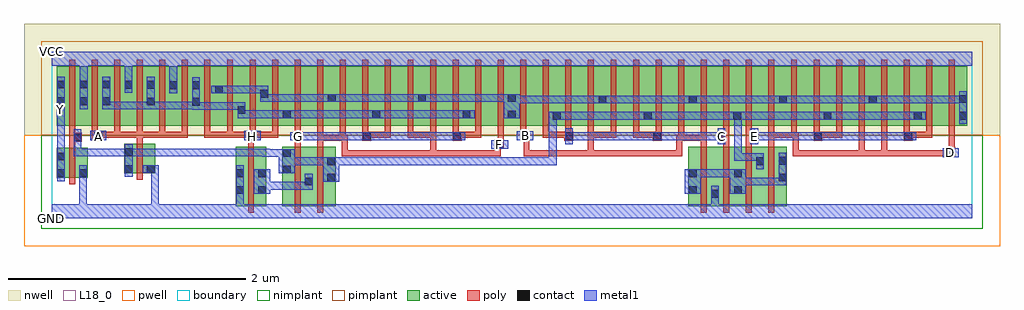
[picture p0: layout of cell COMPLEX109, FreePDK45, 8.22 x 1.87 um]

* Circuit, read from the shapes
.subckt COMPLEX109 A B C D E F G GND H VCC Y
M1 GND n1 Y VSUBS nfet w=0.25u l=0.05u
M2 GND A n1 VSUBS nfet w=0.25u l=0.05u
M3 n2 H GND VSUBS nfet w=0.5u l=0.05u
M4 n2 G n1 VSUBS nfet w=0.5u l=0.05u
M5 n1 F n2 VSUBS nfet w=0.5u l=0.05u
M6 GND B n3 VSUBS nfet w=0.5u l=0.05u
M7 n3 C GND VSUBS nfet w=0.5u l=0.05u
M8 n1 E n3 VSUBS nfet w=0.5u l=0.05u
M9 n3 D n1 VSUBS nfet w=0.5u l=0.05u
M10 VCC n1 Y n4 pfet w=0.5u l=0.05u
M11 n5 A VCC n4 pfet w=0.5u l=0.05u m=5
M12 n6 H n5 n4 pfet w=0.5u l=0.05u m=4
M13 n7 G n5 n4 pfet w=0.5u l=0.05u
M14 n6 F n7 n4 pfet w=0.5u l=0.05u
M15 n8 F n6 n4 pfet w=0.5u l=0.05u
M16 n5 G n8 n4 pfet w=0.5u l=0.05u
M17 n9 G n5 n4 pfet w=0.5u l=0.05u
M18 n6 F n9 n4 pfet w=0.5u l=0.05u
M19 n10 F n6 n4 pfet w=0.5u l=0.05u
M20 n5 G n10 n4 pfet w=0.5u l=0.05u
M21 n11 G n5 n4 pfet w=0.5u l=0.05u
M22 n6 F n11 n4 pfet w=0.5u l=0.05u
M23 n12 B n6 n4 pfet w=0.5u l=0.05u
M24 n1 C n12 n4 pfet w=0.5u l=0.05u
M25 n13 C n1 n4 pfet w=0.5u l=0.05u
M26 n6 B n13 n4 pfet w=0.5u l=0.05u
M27 n14 B n6 n4 pfet w=0.5u l=0.05u
M28 n1 C n14 n4 pfet w=0.5u l=0.05u
M29 n15 C n1 n4 pfet w=0.5u l=0.05u
M30 n6 B n15 n4 pfet w=0.5u l=0.05u
M31 n16 B n6 n4 pfet w=0.5u l=0.05u
M32 n1 C n16 n4 pfet w=0.5u l=0.05u
M33 n17 E n1 n4 pfet w=0.5u l=0.05u
M34 n6 D n17 n4 pfet w=0.5u l=0.05u
M35 n18 D n6 n4 pfet w=0.5u l=0.05u
M36 n1 E n18 n4 pfet w=0.5u l=0.05u
M37 n19 E n1 n4 pfet w=0.5u l=0.05u
M38 n6 D n19 n4 pfet w=0.5u l=0.05u
M39 n20 D n6 n4 pfet w=0.5u l=0.05u
M40 n1 E n20 n4 pfet w=0.5u l=0.05u
M41 n21 E n1 n4 pfet w=0.5u l=0.05u
M42 n6 D n21 n4 pfet w=0.5u l=0.05u
.ends

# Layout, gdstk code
import gdstk
lib = gdstk.Library(unit=1e-6, precision=1e-09)
def R(c, l, rs):  # rectangles x0, y0, x1, y1
    for r in rs: c.add(gdstk.rectangle(r[:2], r[2:], *l))
def A(c, l, x, y, w, h, nx, ny, dx, dy):  # array of equal rectangles
    R(c, l, [(x+i*dx, y+j*dy, x+i*dx+w, y+j*dy+h) for i in range(nx) for j in range(ny)])
active = (1, 0)
pwell = (2, 0)
nwell = (3, 0)
nimplant = (4, 0)
pimplant = (5, 0)
poly = (9, 0)
contact = (10, 0)
metal1 = (11, 0)
L18_0 = (18, 0)
boundary = (235, 0)

complex109 = lib.new_cell('COMPLEX109')
A(complex109, active, 1.37, 0.777, 0.265, 0.5, 3, 1, 0.19, 0)
A(complex109, active, 3.305, 0.777, 0.225, 0.5, 3, 1, 0.38, 0)
A(complex109, active, 3.455, 0.777, 0.23, 0.5, 3, 1, 0.38, 0)
A(complex109, active, 4.445, 0.777, 0.23, 0.5, 3, 1, 0.38, 0)
A(complex109, active, 4.6, 0.777, 0.225, 0.5, 3, 1, 0.38, 0)
A(complex109, active, 6.345, 0.777, 0.225, 0.5, 4, 1, 0.38, 0)
A(complex109, active, 6.495, 0.777, 0.23, 0.5, 3, 1, 0.38, 0)
A(complex109, active, 2.695, 0.807, 0.075, 0.263, 3, 1, 0.76, 0)
A(complex109, active, 4.6, 0.807, 0.075, 0.393, 3, 1, 0.76, 0)
A(complex109, active, 5.735, 0.807, 0.075, 0.263, 3, 1, 0.76, 0)
R(complex109, active, [(1.547,0.102,1.807,0.602), (1.94,0.102,2.2,0.602), (2.125,0.102,2.39,0.602), (5.36,0.102,5.622,0.602), (5.547,0.102,5.815,0.602), (5.74,0.102,6,0.602), (5.925,0.102,6.19,0.602), (1.547,0.132,1.622,0.602), (1.732,0.145,1.807,0.602), (1.94,0.145,2.015,0.602), (2.125,0.145,2.2,0.592), (2.315,0.145,2.39,0.602), (5.36,0.145,5.435,0.602), (5.547,0.145,5.622,0.592), (5.74,0.145,5.815,0.592), (5.925,0.145,6,0.592), (6.115,0.145,6.19,0.602), (0.04,0.342,0.115,0.592), (0.04,0.342,0.3,0.592), (0.225,0.342,0.3,0.592), (0.61,0.377,0.685,0.627), (0.61,0.377,0.87,0.627), (0.795,0.377,0.87,0.627), (0.04,0.777,0.305,1.277), (0.04,0.777,0.115,1.2), (0.23,0.777,0.495,1.277), (0.42,0.777,0.682,1.277), (0.607,0.777,0.87,1.277), (0.795,0.777,1.06,1.277), (0.985,0.777,1.25,1.277), (1.175,0.777,1.445,1.277), (1.94,0.777,2.165,1.277), (2.165,0.777,2.395,1.277), (2.32,0.777,2.545,1.277), (2.545,0.777,2.77,1.277), (2.695,0.777,2.925,1.277), (2.925,0.777,3.155,1.277), (3.08,0.777,3.305,1.277), (5.585,0.777,5.81,1.277), (5.735,0.777,5.965,1.277), (5.965,0.777,6.195,1.277), (6.12,0.777,6.345,1.277), (7.635,0.777,7.71,1.2), (0.23,0.807,0.305,1.267), (0.42,0.807,0.495,1.2), (0.607,0.807,0.682,1.267), (0.795,0.807,0.87,1.2), (0.985,0.807,1.06,1.267), (1.175,0.807,1.25,1.2), (1.37,0.807,1.445,1.2), (1.56,0.807,1.635,1.07), (1.75,0.807,1.825,1.2), (1.94,0.807,2.015,1.07), (2.32,0.807,2.395,1.2), (3.08,0.807,3.155,1.2), (3.835,0.807,3.91,1.2), (4.98,0.807,5.055,1.07), (6.875,0.807,6.95,1.2)])
R(complex109, pwell, [(-0.235,-0.235,7.985,0.7)])
R(complex109, nwell, [(-0.235,0.7,7.985,1.635)])
R(complex109, nimplant, [(-0.09,-0.09,7.84,0.7)])
R(complex109, pimplant, [(-0.09,0.7,7.84,1.49)])
A(complex109, poly, 5.465, 0.047, 0.05, 0.61, 4, 1, 0.19, 0)
A(complex109, poly, 5.465, 0.607, 0.05, 0.095, 3, 1, 0.19, 0)
A(complex109, poly, 0.335, 0.677, 0.05, 0.095, 10, 1, 0.19, 0)
A(complex109, poly, 0.525, 0.677, 0.24, 0.05, 3, 1, 0.19, 0)
A(complex109, poly, 2.615, 0.677, 0.05, 0.095, 6, 1, 0.19, 0)
A(complex109, poly, 3.945, 0.677, 0.05, 0.095, 7, 1, 0.19, 0)
A(complex109, poly, 4.515, 0.677, 0.05, 0.05, 3, 1, 0.19, 0)
A(complex109, poly, 0.145, 0.722, 0.05, 0.61, 40, 1, 0.19, 0)
R(complex109, poly, [(1.652,0.047,1.702,0.657), (2.045,0.047,2.095,0.657), (2.235,0.047,2.285,0.657), (0.145,0.287,0.195,0.647), (0.715,0.322,0.765,0.682), (2.44,0.52,2.49,0.57), (2.44,0.52,2.49,0.57), (2.44,0.52,2.49,0.57), (2.44,0.52,2.69,0.57), (2.44,0.52,2.49,0.702), (2.64,0.52,2.69,0.57), (2.64,0.52,2.822,0.57), (2.772,0.52,2.822,0.57), (2.772,0.52,2.822,0.57), (2.772,0.52,2.822,0.57), (2.772,0.52,2.955,0.57), (2.905,0.52,2.955,0.57), (2.905,0.52,3.087,0.57), (3.037,0.52,3.087,0.57), (3.037,0.52,3.087,0.57), (3.037,0.52,3.087,0.57), (3.037,0.52,3.235,0.57), (3.185,0.52,3.235,0.57), (3.185,0.52,3.235,0.57), (3.185,0.52,3.235,0.57), (3.185,0.52,3.45,0.57), (3.185,0.52,3.235,0.727), (3.4,0.52,3.45,0.57), (3.4,0.52,3.45,0.57), (3.4,0.52,3.45,0.57), (3.4,0.52,3.582,0.57), (3.532,0.52,3.582,0.57), (3.532,0.52,3.78,0.57), (3.73,0.52,3.78,0.57), (3.73,0.52,3.78,0.57), (3.73,0.52,3.78,0.57), (3.73,0.52,3.78,0.635), (3.972,0.52,4.022,0.57), (3.972,0.52,4.022,0.57), (3.972,0.52,4.022,0.57), (3.972,0.52,4.022,0.57), (3.972,0.52,4.022,0.57), (3.972,0.52,4.022,0.702), (3.972,0.52,4.155,0.57), (4.105,0.52,4.155,0.57), (4.105,0.52,4.155,0.57), (4.105,0.52,4.155,0.57), (4.105,0.52,4.395,0.57), (4.345,0.52,4.395,0.57), (4.345,0.52,4.395,0.57), (4.345,0.52,4.395,0.57), (4.345,0.52,4.565,0.57), (4.515,0.52,4.565,0.57), (4.515,0.52,4.565,0.57), (4.515,0.52,4.565,0.57), (4.515,0.52,4.565,0.57), (4.515,0.52,4.565,0.57), (4.515,0.52,4.812,0.57), (4.515,0.52,4.565,0.727), (4.762,0.52,4.812,0.57), (4.762,0.52,4.812,0.57), (4.762,0.52,4.812,0.57), (4.762,0.52,4.977,0.57), (4.927,0.52,4.977,0.57), (4.927,0.52,4.977,0.57), (4.927,0.52,4.977,0.57), (4.927,0.52,5.177,0.57), (5.127,0.52,5.177,0.57), (5.127,0.52,5.31,0.57), (5.26,0.52,5.31,0.57), (5.26,0.52,5.31,0.57), (5.26,0.52,5.31,0.57), (5.26,0.52,5.31,0.57), (5.26,0.52,5.31,0.57), (5.26,0.52,5.31,0.702), (6.24,0.52,6.29,0.57), (6.24,0.52,6.29,0.57), (6.24,0.52,6.29,0.57), (6.24,0.52,6.422,0.57), (6.24,0.52,6.29,0.725), (6.372,0.52,6.422,0.57), (6.372,0.52,6.422,0.57), (6.372,0.52,6.422,0.57), (6.372,0.52,6.622,0.57), (6.572,0.52,6.622,0.57), (6.572,0.52,6.622,0.57), (6.572,0.52,6.622,0.57), (6.572,0.52,6.845,0.57), (6.795,0.52,6.845,0.57), (6.795,0.52,6.845,0.57), (6.795,0.52,6.845,0.57), (6.795,0.52,6.845,0.57), (6.795,0.52,6.845,0.57), (6.795,0.52,6.845,0.57), (6.795,0.52,6.845,0.57), (6.795,0.52,6.845,0.772), (6.795,0.52,7.035,0.57), (6.985,0.52,7.035,0.57), (6.985,0.52,7.035,0.57), (6.985,0.52,7.035,0.57), (6.985,0.52,7.035,0.57), (6.985,0.52,7.035,0.57), (6.985,0.52,7.035,0.57), (6.985,0.52,7.035,0.57), (6.985,0.52,7.167,0.57), (6.985,0.52,7.035,0.772), (7.117,0.52,7.167,0.57), (7.117,0.52,7.167,0.57), (7.117,0.52,7.167,0.57), (7.117,0.52,7.382,0.57), (7.332,0.52,7.382,0.57), (7.332,0.52,7.582,0.57), (7.532,0.52,7.582,0.57), (7.532,0.52,7.582,0.57), (7.532,0.52,7.582,0.57), (7.532,0.52,7.582,0.57), (7.532,0.52,7.582,0.57), (7.532,0.52,7.582,0.57), (7.532,0.52,7.607,0.595), (7.555,0.545,7.605,0.772), (3.73,0.585,3.78,0.635), (3.73,0.585,3.78,0.635), (3.73,0.585,3.805,0.66), (0.145,0.597,0.195,0.692), (1.652,0.607,1.702,0.702), (2.045,0.607,2.095,0.702), (2.235,0.607,2.285,0.702), (6.035,0.607,6.085,0.725), (3.755,0.61,3.805,0.772), (0.715,0.632,0.765,0.727), (0.145,0.642,0.252,0.717), (0.335,0.652,0.427,0.727), (1.652,0.652,1.727,0.727), (2.037,0.652,2.112,0.727), (2.235,0.652,2.285,0.702), (2.235,0.652,2.285,0.702), (2.235,0.652,2.285,0.702), (2.235,0.652,2.475,0.702), (2.235,0.652,2.285,0.772), (2.425,0.652,2.49,0.702), (2.425,0.652,2.475,0.772), (2.44,0.652,2.49,0.702), (2.44,0.652,2.49,0.702), (2.615,0.652,2.69,0.727), (3.375,0.652,3.45,0.727), (3.945,0.652,4.022,0.727), (4.317,0.652,4.392,0.727), (5.06,0.652,5.135,0.727), (5.26,0.652,5.325,0.702), (5.275,0.652,5.515,0.702), (5.275,0.652,5.325,0.772), (5.465,0.652,5.515,0.702), (5.465,0.652,5.515,0.702), (5.465,0.652,5.515,0.702), (5.465,0.652,5.515,0.772), (5.602,0.652,5.705,0.727), (5.845,0.652,5.952,0.727), (6.415,0.652,6.49,0.727), (7.175,0.652,7.25,0.727), (0.145,0.667,0.195,0.772), (6.035,0.675,6.085,0.725), (6.035,0.675,6.085,0.725), (6.035,0.675,6.085,0.725), (6.035,0.675,6.275,0.725), (6.035,0.675,6.085,0.772), (6.225,0.675,6.275,0.772), (6.225,0.675,6.29,0.725), (6.24,0.675,6.29,0.725), (6.24,0.675,6.29,0.725), (0.377,0.677,0.575,0.727), (0.525,0.677,0.575,0.727), (0.525,0.677,0.575,0.727), (0.525,0.677,0.575,0.727), (0.715,0.677,0.765,0.727), (0.715,0.677,0.765,0.727), (0.715,0.677,0.765,0.727), (0.905,0.677,0.955,0.727), (0.905,0.677,0.955,0.727), (0.905,0.677,0.955,0.727), (1.095,0.677,1.145,0.727), (1.095,0.677,1.145,0.727), (1.095,0.677,1.145,0.727), (1.285,0.677,1.335,0.727), (1.285,0.677,1.335,0.727), (1.285,0.677,1.335,0.727), (1.285,0.677,1.525,0.727), (1.475,0.677,1.525,0.727), (1.475,0.677,1.525,0.727), (1.475,0.677,1.525,0.727), (1.475,0.677,1.702,0.727), (1.677,0.677,1.727,0.727), (1.677,0.677,1.727,0.727), (1.677,0.677,1.905,0.727), (1.855,0.677,1.905,0.727), (2.64,0.677,2.69,0.727), (2.64,0.677,2.69,0.727), (2.64,0.677,2.855,0.727), (2.805,0.677,2.855,0.727), (2.995,0.677,3.045,0.727), (2.995,0.677,3.087,0.727), (3.037,0.677,3.087,0.727), (3.037,0.677,3.235,0.727), (3.185,0.677,3.235,0.727), (3.185,0.677,3.235,0.727), (3.185,0.677,3.235,0.727), (3.4,0.677,3.45,0.727), (3.4,0.677,3.45,0.727), (3.4,0.677,3.615,0.727), (3.565,0.677,3.615,0.727), (4.135,0.677,4.185,0.727), (4.135,0.677,4.185,0.727), (4.135,0.677,4.185,0.727), (4.135,0.677,4.367,0.727), (4.515,0.677,4.565,0.727), (4.515,0.677,4.565,0.727), (4.515,0.677,4.755,0.727), (4.895,0.677,4.945,0.727), (4.895,0.677,4.945,0.727), (4.895,0.677,5.11,0.727), (5.655,0.677,5.705,0.772), (5.845,0.677,5.895,0.772), (6.415,0.677,6.465,0.772), (6.44,0.677,6.49,0.727), (6.44,0.677,6.49,0.727), (6.44,0.677,6.655,0.727), (6.605,0.677,6.655,0.727), (6.605,0.677,6.655,0.772), (7.175,0.677,7.225,0.772), (7.2,0.677,7.25,0.727), (7.2,0.677,7.25,0.727), (7.2,0.677,7.415,0.727), (7.365,0.677,7.415,0.727), (7.365,0.677,7.415,0.772)])
A(complex109, contact, 5.74, 0.83, 0.065, 0.065, 3, 1, 0.76, 0)
A(complex109, contact, 0.045, 0.952, 0.065, 0.065, 3, 2, 0.19, 0.14)
A(complex109, contact, 4.605, 0.967, 0.065, 0.065, 3, 1, 0.76, 0)
R(complex109, contact, [(5.552,0.172,5.617,0.237), (1.552,0.205,1.617,0.27), (1.737,0.205,1.802,0.27), (5.365,0.205,5.43,0.27), (5.745,0.205,5.81,0.27), (2.13,0.275,2.195,0.34), (2.32,0.307,2.385,0.372), (6.12,0.31,6.185,0.375), (1.552,0.345,1.617,0.41), (1.737,0.345,1.802,0.41), (5.365,0.345,5.43,0.41), (5.745,0.345,5.81,0.41), (0.045,0.347,0.11,0.412), (0.23,0.347,0.295,0.412), (1.945,0.377,2.01,0.442), (0.615,0.382,0.68,0.447), (0.8,0.382,0.865,0.447), (2.32,0.447,2.385,0.512), (5.93,0.447,5.995,0.512), (6.12,0.45,6.185,0.515), (0.045,0.487,0.11,0.552), (1.945,0.517,2.01,0.582), (0.615,0.522,0.68,0.587), (7.537,0.525,7.602,0.59), (3.735,0.59,3.8,0.655), (0.182,0.647,0.247,0.712), (0.357,0.657,0.422,0.722), (1.657,0.657,1.722,0.722), (2.042,0.657,2.107,0.722), (2.62,0.657,2.685,0.722), (3.38,0.657,3.445,0.722), (3.952,0.657,4.017,0.722), (4.322,0.657,4.387,0.722), (5.065,0.657,5.13,0.722), (5.607,0.657,5.672,0.722), (5.882,0.657,5.947,0.722), (6.42,0.657,6.485,0.722), (7.18,0.657,7.245,0.722), (4.22,0.83,4.285,0.895), (4.985,0.83,5.05,0.895), (7.64,0.83,7.705,0.895), (3.84,0.84,3.905,0.905), (1.945,0.842,2.01,0.907), (2.7,0.842,2.765,0.907), (3.46,0.842,3.525,0.907), (1.565,0.877,1.63,0.942), (1.18,0.947,1.245,1.012), (0.8,0.95,0.865,1.015), (6.88,0.967,6.945,1.032), (7.64,0.97,7.705,1.035), (2.325,0.98,2.39,1.045), (3.085,0.98,3.15,1.045), (3.84,0.98,3.905,1.045), (1.755,1.015,1.82,1.08), (1.375,1.05,1.44,1.115), (0.99,1.087,1.055,1.152), (1.18,1.087,1.245,1.152), (0.612,1.09,0.677,1.155), (0.8,1.09,0.865,1.155)])
A(complex109, metal1, 2.007, 0.657, 0.135, 0.065, 3, 1, 0.07, 0)
A(complex109, metal1, 5.705, 0.83, 0.135, 0.065, 3, 1, 0.76, 0)
A(complex109, metal1, 0.045, 0.917, 0.065, 0.275, 3, 1, 0.19, 0)
A(complex109, metal1, 4.57, 0.967, 0.135, 0.065, 3, 1, 0.76, 0)
R(complex109, metal1, [(0,0,7.75,0.115), (0.23,0.05,0.295,0.377), (0.835,0.05,0.9,0.447), (1.552,0.05,1.617,0.235), (5.552,0.05,5.617,0.202), (5.552,0.137,5.617,0.202), (5.552,0.137,5.617,0.202), (5.552,0.137,5.617,0.272), (1.552,0.17,1.617,0.445), (1.552,0.17,1.617,0.235), (1.552,0.17,1.617,0.235), (1.702,0.205,1.837,0.41), (5.33,0.205,5.465,0.41), (5.71,0.205,5.845,0.41), (1.772,0.24,1.837,0.305), (1.772,0.24,1.837,0.305), (1.772,0.24,2.057,0.305), (1.992,0.24,2.057,0.305), (1.992,0.24,2.145,0.305), (2.08,0.24,2.145,0.305), (2.08,0.24,2.195,0.305), (2.13,0.24,2.195,0.375), (5.78,0.275,5.95,0.34), (5.885,0.275,5.95,0.34), (5.885,0.275,5.982,0.34), (5.917,0.275,5.982,0.34), (5.917,0.275,6.087,0.34), (6.022,0.275,6.087,0.34), (6.022,0.275,6.185,0.34), (6.12,0.275,6.185,0.55), (2.285,0.307,2.42,0.512), (0.045,0.312,0.11,0.587), (0.23,0.312,0.295,0.377), (0.23,0.312,0.295,0.377), (0.23,0.312,0.295,0.377), (0.23,0.312,0.295,0.377), (0.23,0.312,0.295,0.377), (0.23,0.312,0.295,0.377), (0.23,0.312,0.295,0.447), (5.4,0.345,5.465,0.41), (5.4,0.345,5.465,0.41), (5.4,0.345,5.602,0.41), (5.537,0.345,5.602,0.41), (5.537,0.345,5.602,0.41), (5.537,0.345,5.602,0.41), (5.537,0.345,5.775,0.41), (0.615,0.347,0.68,0.622), (1.91,0.377,2.045,0.582), (0.765,0.382,0.9,0.447), (0.835,0.382,0.9,0.447), (0.835,0.382,0.9,0.447), (0.835,0.382,0.9,0.447), (0.835,0.382,0.9,0.447), (0.835,0.382,0.9,0.447), (0.835,0.382,0.9,0.447), (5.93,0.412,5.995,0.547), (1.98,0.447,2.045,0.512), (1.98,0.447,2.045,0.512), (1.98,0.447,2.212,0.512), (2.147,0.447,2.212,0.512), (2.147,0.447,2.282,0.512), (2.217,0.447,2.282,0.512), (2.217,0.447,2.35,0.512), (2.355,0.447,2.42,0.512), (2.355,0.447,2.42,0.512), (2.355,0.447,2.562,0.512), (2.497,0.447,2.562,0.512), (2.497,0.447,2.562,0.512), (2.497,0.447,2.562,0.512), (2.497,0.447,2.8,0.512), (2.735,0.447,2.8,0.512), (2.735,0.447,2.937,0.512), (2.872,0.447,2.937,0.512), (2.872,0.447,2.937,0.512), (2.872,0.447,2.937,0.512), (2.872,0.447,3.075,0.512), (3.01,0.447,3.075,0.512), (3.01,0.447,3.075,0.512), (3.01,0.447,3.075,0.512), (3.01,0.447,3.272,0.512), (3.207,0.447,3.272,0.512), (3.207,0.447,3.322,0.512), (3.257,0.447,3.322,0.512), (3.257,0.447,3.49,0.512), (3.425,0.447,3.49,0.512), (3.425,0.447,3.49,0.512), (3.425,0.447,3.49,0.512), (3.425,0.447,3.627,0.512), (3.562,0.447,3.627,0.512), (3.562,0.447,3.627,0.512), (3.562,0.447,3.627,0.512), (3.562,0.447,3.802,0.512), (3.737,0.447,3.802,0.512), (3.737,0.447,3.94,0.512), (3.875,0.447,3.94,0.512), (3.875,0.447,3.94,0.512), (3.875,0.447,3.94,0.512), (3.875,0.447,4.077,0.512), (4.012,0.447,4.077,0.512), (4.012,0.447,4.077,0.512), (4.012,0.447,4.077,0.512), (4.012,0.447,4.25,0.512), (4.185,0.447,4.25,0.512), (4.185,0.447,4.25,0.895), (5.745,0.482,5.81,0.547), (5.745,0.482,5.925,0.547), (5.745,0.482,5.81,0.895), (5.86,0.482,5.925,0.547), (5.86,0.482,5.995,0.547), (7.502,0.512,7.637,0.59), (1.772,0.517,1.837,0.582), (1.772,0.517,1.837,0.582), (1.772,0.517,1.975,0.582), (1.772,0.517,1.837,0.585), (0.182,0.52,0.247,0.585), (0.182,0.52,0.54,0.585), (0.182,0.52,0.247,0.677), (0.475,0.52,0.68,0.585), (0.475,0.52,0.54,0.585), (0.475,0.52,0.54,0.585), (0.475,0.52,0.54,0.585), (0.615,0.52,0.68,0.585), (0.615,0.52,0.68,0.585), (0.615,0.52,0.83,0.585), (0.765,0.52,0.83,0.585), (0.765,0.52,0.83,0.585), (0.765,0.52,0.83,0.585), (0.765,0.52,1.062,0.585), (0.997,0.52,1.062,0.585), (0.997,0.52,1.062,0.585), (0.997,0.52,1.062,0.585), (0.997,0.52,1.2,0.585), (1.135,0.52,1.2,0.585), (1.135,0.52,1.2,0.585), (1.135,0.52,1.2,0.585), (1.135,0.52,1.337,0.585), (1.272,0.52,1.337,0.585), (1.272,0.52,1.475,0.585), (1.41,0.52,1.475,0.585), (1.41,0.52,1.475,0.585), (1.41,0.52,1.475,0.585), (1.41,0.52,1.612,0.585), (1.547,0.52,1.612,0.585), (1.547,0.52,1.612,0.585), (1.547,0.52,1.612,0.585), (1.547,0.52,1.837,0.585), (0.045,0.522,0.11,0.912), (3.7,0.585,3.842,0.657), (0.182,0.612,0.247,0.677), (0.182,0.612,0.247,0.677), (0.182,0.612,0.247,0.747), (4.322,0.622,4.387,0.757), (5.607,0.622,5.672,0.757), (5.882,0.622,5.947,0.757), (3.917,0.655,4.052,0.732), (0.322,0.657,0.457,0.735), (1.622,0.657,1.757,0.735), (2.147,0.657,2.212,0.722), (2.217,0.657,2.282,0.722), (2.217,0.657,2.42,0.722), (2.355,0.657,2.42,0.722), (2.355,0.657,2.42,0.722), (2.355,0.657,2.42,0.722), (2.355,0.657,2.582,0.722), (2.517,0.657,2.582,0.722), (2.517,0.657,2.65,0.722), (2.585,0.657,2.72,0.722), (2.655,0.657,2.72,0.722), (2.655,0.657,2.72,0.722), (2.655,0.657,2.937,0.722), (2.872,0.657,2.937,0.722), (2.872,0.657,2.937,0.722), (2.872,0.657,2.937,0.722), (2.872,0.657,3.082,0.722), (3.017,0.657,3.082,0.722), (3.017,0.657,3.082,0.722), (3.017,0.657,3.082,0.722), (3.017,0.657,3.272,0.722), (3.207,0.657,3.272,0.722), (3.207,0.657,3.322,0.722), (3.257,0.657,3.322,0.722), (3.257,0.657,3.41,0.722), (3.345,0.657,3.48,0.722), (4.322,0.657,4.465,0.722), (4.4,0.657,4.465,0.722), (4.4,0.657,4.602,0.722), (4.537,0.657,4.602,0.722), (4.537,0.657,4.74,0.722), (4.675,0.657,4.74,0.722), (4.675,0.657,4.74,0.722), (4.675,0.657,4.74,0.722), (4.675,0.657,4.877,0.722), (4.812,0.657,4.877,0.722), (4.812,0.657,4.877,0.722), (4.812,0.657,4.877,0.722), (4.812,0.657,5.095,0.722), (5.03,0.657,5.095,0.722), (5.03,0.657,5.095,0.722), (5.03,0.657,5.165,0.722), (5.1,0.657,5.257,0.722), (5.192,0.657,5.257,0.722), (5.192,0.657,5.302,0.722), (5.237,0.657,5.302,0.722), (5.237,0.657,5.44,0.722), (5.375,0.657,5.44,0.722), (5.375,0.657,5.44,0.722), (5.375,0.657,5.44,0.722), (5.375,0.657,5.602,0.722), (5.537,0.657,5.602,0.722), (5.537,0.657,5.672,0.722), (5.882,0.657,5.987,0.722), (5.922,0.657,5.987,0.722), (5.922,0.657,6.087,0.722), (6.022,0.657,6.087,0.722), (6.022,0.657,6.225,0.722), (6.16,0.657,6.225,0.722), (6.16,0.657,6.225,0.722), (6.16,0.657,6.225,0.722), (6.16,0.657,6.362,0.722), (6.297,0.657,6.362,0.722), (6.297,0.657,6.45,0.722), (6.385,0.657,6.52,0.722), (6.455,0.657,6.52,0.722), (6.455,0.657,6.52,0.722), (6.455,0.657,6.74,0.722), (6.675,0.657,6.74,0.722), (6.675,0.657,6.74,0.722), (6.675,0.657,6.74,0.722), (6.675,0.657,6.877,0.722), (6.812,0.657,6.877,0.722), (6.812,0.657,7.015,0.722), (6.95,0.657,7.015,0.722), (6.95,0.657,7.015,0.722), (6.95,0.657,7.015,0.722), (6.95,0.657,7.152,0.722), (7.087,0.657,7.152,0.722), (7.087,0.657,7.21,0.722), (7.145,0.657,7.28,0.722), (7.64,0.795,7.705,1.07), (4.185,0.83,4.25,0.895), (4.185,0.83,4.25,0.895), (4.185,0.83,4.32,0.895), (4.255,0.83,4.32,0.895), (4.255,0.83,4.32,0.895), (4.255,0.83,4.457,0.895), (4.392,0.83,4.457,0.895), (4.392,0.83,4.457,0.895), (4.392,0.83,4.457,0.895), (4.392,0.83,4.602,0.895), (4.537,0.83,4.602,0.895), (4.537,0.83,4.602,0.895), (4.537,0.83,4.602,0.895), (4.537,0.83,4.74,0.895), (4.675,0.83,4.74,0.895), (4.675,0.83,4.877,0.895), (4.812,0.83,4.877,0.895), (4.812,0.83,4.877,0.895), (4.812,0.83,4.877,0.895), (4.812,0.83,5.015,0.895), (4.95,0.83,5.085,0.895), (5.02,0.83,5.085,0.895), (5.02,0.83,5.085,0.895), (5.02,0.83,5.257,0.895), (5.192,0.83,5.257,0.895), (5.192,0.83,5.302,0.895), (5.237,0.83,5.302,0.895), (5.237,0.83,5.465,0.895), (5.4,0.83,5.465,0.895), (5.4,0.83,5.465,0.895), (5.4,0.83,5.465,0.895), (5.4,0.83,5.602,0.895), (5.537,0.83,5.602,0.895), (5.537,0.83,5.77,0.895), (5.705,0.83,5.77,0.895), (5.705,0.83,5.77,0.895), (5.745,0.83,5.81,0.895), (5.745,0.83,5.81,0.895), (5.745,0.83,5.81,0.895), (5.745,0.83,5.81,0.895), (5.775,0.83,5.95,0.895), (5.885,0.83,5.95,0.895), (5.885,0.83,5.987,0.895), (5.922,0.83,5.987,0.895), (5.922,0.83,6.087,0.895), (6.022,0.83,6.087,0.895), (6.022,0.83,6.125,0.895), (6.06,0.83,6.125,0.895), (6.06,0.83,6.312,0.895), (6.247,0.83,6.312,0.895), (6.247,0.83,6.362,0.895), (6.297,0.83,6.362,0.895), (6.297,0.83,6.53,0.895), (6.465,0.83,6.53,0.895), (6.465,0.83,6.53,0.895), (6.535,0.83,6.74,0.895), (6.675,0.83,6.74,0.895), (6.675,0.83,6.74,0.895), (6.675,0.83,6.74,0.895), (6.675,0.83,6.877,0.895), (6.812,0.83,6.877,0.895), (6.812,0.83,6.877,0.895), (6.812,0.83,6.877,0.895), (6.812,0.83,7.072,0.895), (7.007,0.83,7.072,0.895), (7.007,0.83,7.152,0.895), (7.087,0.83,7.152,0.895), (7.087,0.83,7.29,0.895), (7.225,0.83,7.29,0.895), (7.225,0.83,7.29,0.895), (3.805,0.84,3.94,1.045), (1.565,0.842,1.63,0.907), (1.565,0.842,1.63,0.907), (1.565,0.842,1.63,0.977), (1.565,0.842,1.835,0.907), (1.77,0.842,1.975,0.907), (1.77,0.842,1.835,0.907), (1.77,0.842,1.835,0.907), (1.77,0.842,1.835,0.907), (1.91,0.842,2.045,0.907), (1.98,0.842,2.045,0.907), (1.98,0.842,2.045,0.907), (1.98,0.842,2.212,0.907), (2.147,0.842,2.212,0.907), (2.147,0.842,2.282,0.907), (2.217,0.842,2.282,0.907), (2.217,0.842,2.42,0.907), (2.355,0.842,2.42,0.907), (2.355,0.842,2.42,0.907), (2.355,0.842,2.42,0.907), (2.355,0.842,2.582,0.907), (2.517,0.842,2.582,0.907), (2.517,0.842,2.582,0.907), (2.517,0.842,2.582,0.907), (2.517,0.842,2.73,0.907), (2.665,0.842,2.8,0.907), (2.735,0.842,2.937,0.907), (2.872,0.842,2.937,0.907), (2.872,0.842,2.937,0.907), (2.872,0.842,2.937,0.907), (2.872,0.842,3.135,0.907), (3.07,0.842,3.135,0.907), (3.07,0.842,3.135,0.907), (3.07,0.842,3.135,0.907), (3.07,0.842,3.272,0.907), (3.207,0.842,3.272,0.907), (3.207,0.842,3.322,0.907), (3.257,0.842,3.322,0.907), (3.257,0.842,3.49,0.907), (3.425,0.842,3.49,0.907), (3.425,0.842,3.49,0.907), (3.425,0.842,3.56,0.907), (0.042,0.847,0.11,0.982), (1.18,0.912,1.245,1.187), (1.18,0.912,1.337,0.977), (1.272,0.912,1.337,0.977), (1.272,0.912,1.475,0.977), (1.41,0.912,1.475,0.977), (1.41,0.912,1.475,0.977), (1.41,0.912,1.475,0.977), (1.41,0.912,1.63,0.977), (0.8,0.915,0.865,1.19), (0.8,0.915,1.037,0.98), (0.972,0.915,1.037,0.98), (0.972,0.915,1.037,0.98), (0.972,0.915,1.037,0.98), (0.972,0.915,1.2,0.98), (1.135,0.915,1.2,0.98), (1.135,0.915,1.245,0.98), (0.045,0.917,0.11,0.982), (0.425,0.917,0.692,0.982), (0.627,0.917,0.692,0.982), (0.627,0.917,0.692,0.982), (0.627,0.917,0.692,0.982), (0.627,0.917,0.865,0.982), (0.8,0.917,0.865,0.982), (0.8,0.917,0.865,0.982), (3.875,0.967,3.94,1.032), (3.875,0.967,3.94,1.032), (3.875,0.967,4.112,1.032), (4.047,0.967,4.112,1.032), (4.047,0.967,4.25,1.032), (4.185,0.967,4.25,1.032), (4.185,0.967,4.25,1.032), (4.185,0.967,4.25,1.032), (4.185,0.967,4.465,1.032), (4.4,0.967,4.465,1.032), (4.4,0.967,4.465,1.032), (4.4,0.967,4.465,1.032), (4.4,0.967,4.602,1.032), (4.537,0.967,4.602,1.032), (4.537,0.967,4.635,1.032), (4.64,0.967,4.74,1.032), (4.675,0.967,4.74,1.032), (4.675,0.967,4.877,1.032), (4.812,0.967,4.877,1.032), (4.812,0.967,4.877,1.032), (4.812,0.967,4.877,1.032), (4.812,0.967,5.015,1.032), (4.95,0.967,5.015,1.032), (4.95,0.967,5.015,1.032), (4.95,0.967,5.015,1.032), (4.95,0.967,5.257,1.032), (5.192,0.967,5.257,1.032), (5.192,0.967,5.302,1.032), (5.237,0.967,5.302,1.032), (5.237,0.967,5.395,1.032), (5.4,0.967,5.465,1.032), (5.4,0.967,5.465,1.032), (5.4,0.967,5.602,1.032), (5.537,0.967,5.602,1.032), (5.537,0.967,5.74,1.032), (5.675,0.967,5.74,1.032), (5.675,0.967,5.74,1.032), (5.675,0.967,5.74,1.032), (5.675,0.967,5.95,1.032), (5.885,0.967,5.95,1.032), (5.885,0.967,5.987,1.032), (5.922,0.967,5.987,1.032), (5.922,0.967,6.087,1.032), (6.022,0.967,6.087,1.032), (6.022,0.967,6.155,1.032), (6.16,0.967,6.225,1.032), (6.16,0.967,6.225,1.032), (6.16,0.967,6.362,1.032), (6.297,0.967,6.362,1.032), (6.297,0.967,6.592,1.032), (6.527,0.967,6.592,1.032), (6.527,0.967,6.592,1.032), (6.527,0.967,6.592,1.032), (6.527,0.967,6.74,1.032), (6.675,0.967,6.74,1.032), (6.675,0.967,6.74,1.032), (6.675,0.967,6.74,1.032), (6.675,0.967,6.877,1.032), (6.812,0.967,6.877,1.032), (6.812,0.967,6.91,1.032), (6.845,0.967,6.98,1.032), (6.915,0.967,7.072,1.032), (7.007,0.967,7.072,1.032), (7.007,0.967,7.152,1.032), (7.087,0.967,7.152,1.032), (7.087,0.967,7.29,1.032), (7.225,0.967,7.29,1.032), (7.225,0.967,7.29,1.032), (7.225,0.967,7.29,1.032), (7.225,0.967,7.427,1.032), (7.362,0.967,7.427,1.032), (7.362,0.967,7.565,1.032), (7.5,0.967,7.705,1.032), (7.5,0.967,7.565,1.032), (7.5,0.967,7.565,1.032), (7.5,0.967,7.565,1.032), (1.755,0.98,1.82,1.045), (1.755,0.98,1.82,1.045), (1.755,0.98,1.82,1.115), (1.755,0.98,2.057,1.045), (1.992,0.98,2.057,1.045), (1.992,0.98,2.057,1.045), (1.992,0.98,2.057,1.045), (1.992,0.98,2.212,1.045), (2.147,0.98,2.212,1.045), (2.147,0.98,2.282,1.045), (2.217,0.98,2.282,1.045), (2.217,0.98,2.355,1.045), (2.29,0.98,2.425,1.045), (2.36,0.98,2.425,1.045), (2.36,0.98,2.425,1.045), (2.36,0.98,2.582,1.045), (2.517,0.98,2.582,1.045), (2.517,0.98,2.582,1.045), (2.517,0.98,2.582,1.045), (2.517,0.98,2.72,1.045), (2.655,0.98,2.72,1.045), (2.655,0.98,2.937,1.045), (2.872,0.98,2.937,1.045), (2.872,0.98,2.937,1.045), (2.872,0.98,2.937,1.045), (2.872,0.98,3.115,1.045), (3.05,0.98,3.115,1.045), (3.05,0.98,3.115,1.045), (3.05,0.98,3.185,1.045), (3.12,0.98,3.272,1.045), (3.207,0.98,3.272,1.045), (3.207,0.98,3.322,1.045), (3.257,0.98,3.322,1.045), (3.257,0.98,3.49,1.045), (3.425,0.98,3.49,1.045), (3.425,0.98,3.49,1.045), (3.425,0.98,3.49,1.045), (3.425,0.98,3.627,1.045), (3.562,0.98,3.627,1.045), (3.562,0.98,3.627,1.045), (3.562,0.98,3.627,1.045), (3.562,0.98,3.765,1.045), (3.7,0.98,3.765,1.045), (3.7,0.98,3.87,1.045), (1.34,1.05,1.475,1.115), (1.41,1.05,1.475,1.115), (1.41,1.05,1.475,1.115), (1.41,1.05,1.63,1.115), (1.565,1.05,1.63,1.115), (1.565,1.05,1.63,1.115), (1.565,1.05,1.63,1.115), (1.565,1.05,1.82,1.115), (0.99,1.052,1.055,1.187), (0.612,1.055,0.677,1.19), (0.99,1.122,1.055,1.35), (0.612,1.125,0.677,1.35), (0.235,1.127,0.3,1.35), (0,1.285,7.75,1.4)])
A(complex109, L18_0, 2.007, 0.657, 0.135, 0.065, 3, 1, 0.07, 0)
R(complex109, L18_0, [(0,0,7.75,0.115), (0.23,0.05,0.295,0.377), (0.835,0.05,0.9,0.447), (1.552,0.05,1.617,0.235), (5.552,0.05,5.617,0.202), (5.552,0.137,5.617,0.202), (5.552,0.137,5.617,0.202), (5.552,0.137,5.617,0.272), (1.552,0.17,1.617,0.445), (1.552,0.17,1.617,0.235), (1.552,0.17,1.617,0.235), (0.045,0.312,0.11,0.587), (0.23,0.312,0.295,0.377), (0.23,0.312,0.295,0.377), (0.23,0.312,0.295,0.377), (0.23,0.312,0.295,0.377), (0.23,0.312,0.295,0.377), (0.23,0.312,0.295,0.377), (0.23,0.312,0.295,0.447), (0.765,0.382,0.9,0.447), (0.835,0.382,0.9,0.447), (0.835,0.382,0.9,0.447), (0.835,0.382,0.9,0.447), (0.835,0.382,0.9,0.447), (0.835,0.382,0.9,0.447), (0.835,0.382,0.9,0.447), (7.502,0.512,7.637,0.59), (0.045,0.522,0.11,0.912), (7.537,0.522,7.602,0.587), (3.7,0.585,3.842,0.657), (3.737,0.587,3.802,0.652), (4.322,0.622,4.387,0.757), (5.607,0.622,5.672,0.757), (5.882,0.622,5.947,0.757), (3.917,0.655,4.052,0.732), (0.322,0.657,0.457,0.735), (0.357,0.657,0.422,0.722), (1.622,0.657,1.757,0.735), (1.657,0.657,1.722,0.722), (2.042,0.657,2.107,0.722), (2.147,0.657,2.212,0.722), (2.217,0.657,2.282,0.722), (2.217,0.657,2.42,0.722), (2.355,0.657,2.42,0.722), (2.355,0.657,2.42,0.722), (2.355,0.657,2.42,0.722), (2.355,0.657,2.582,0.722), (2.517,0.657,2.582,0.722), (2.517,0.657,2.65,0.722), (2.585,0.657,2.72,0.722), (2.655,0.657,2.72,0.722), (2.655,0.657,2.72,0.722), (2.655,0.657,2.937,0.722), (2.872,0.657,2.937,0.722), (2.872,0.657,2.937,0.722), (2.872,0.657,2.937,0.722), (2.872,0.657,3.082,0.722), (3.017,0.657,3.082,0.722), (3.017,0.657,3.082,0.722), (3.017,0.657,3.082,0.722), (3.017,0.657,3.272,0.722), (3.207,0.657,3.272,0.722), (3.207,0.657,3.322,0.722), (3.257,0.657,3.322,0.722), (3.257,0.657,3.41,0.722), (3.345,0.657,3.48,0.722), (4.322,0.657,4.465,0.722), (4.4,0.657,4.465,0.722), (4.4,0.657,4.602,0.722), (4.537,0.657,4.602,0.722), (4.537,0.657,4.74,0.722), (4.675,0.657,4.74,0.722), (4.675,0.657,4.74,0.722), (4.675,0.657,4.74,0.722), (4.675,0.657,4.877,0.722), (4.812,0.657,4.877,0.722), (4.812,0.657,4.877,0.722), (4.812,0.657,4.877,0.722), (4.812,0.657,5.095,0.722), (5.03,0.657,5.095,0.722), (5.03,0.657,5.095,0.722), (5.03,0.657,5.165,0.722), (5.1,0.657,5.257,0.722), (5.192,0.657,5.257,0.722), (5.192,0.657,5.302,0.722), (5.237,0.657,5.302,0.722), (5.237,0.657,5.44,0.722), (5.375,0.657,5.44,0.722), (5.375,0.657,5.44,0.722), (5.375,0.657,5.44,0.722), (5.375,0.657,5.602,0.722), (5.537,0.657,5.602,0.722), (5.537,0.657,5.672,0.722), (5.607,0.657,5.672,0.722), (5.882,0.657,5.947,0.722), (5.882,0.657,5.987,0.722), (5.922,0.657,5.987,0.722), (5.922,0.657,6.087,0.722), (6.022,0.657,6.087,0.722), (6.022,0.657,6.225,0.722), (6.16,0.657,6.225,0.722), (6.16,0.657,6.225,0.722), (6.16,0.657,6.225,0.722), (6.16,0.657,6.362,0.722), (6.297,0.657,6.362,0.722), (6.297,0.657,6.45,0.722), (6.385,0.657,6.52,0.722), (6.455,0.657,6.52,0.722), (6.455,0.657,6.52,0.722), (6.455,0.657,6.74,0.722), (6.675,0.657,6.74,0.722), (6.675,0.657,6.74,0.722), (6.675,0.657,6.74,0.722), (6.675,0.657,6.877,0.722), (6.812,0.657,6.877,0.722), (6.812,0.657,7.015,0.722), (6.95,0.657,7.015,0.722), (6.95,0.657,7.015,0.722), (6.95,0.657,7.015,0.722), (6.95,0.657,7.152,0.722), (7.087,0.657,7.152,0.722), (7.087,0.657,7.21,0.722), (7.145,0.657,7.28,0.722), (3.952,0.667,4.017,0.732), (0.042,0.847,0.11,0.982), (0.042,0.882,0.107,0.947), (0.045,0.917,0.11,1.192), (0.045,0.917,0.11,0.982), (0.235,0.917,0.3,1.192), (0.99,1.052,1.055,1.187), (0.612,1.055,0.677,1.19), (0.99,1.122,1.055,1.35), (0.612,1.125,0.677,1.35), (0.235,1.127,0.3,1.35), (0,1.285,7.75,1.4)])
R(complex109, boundary, [(0,0,7.75,1.4)])
complex109.add(gdstk.Label('A', (0.39,0.69), layer=11, texttype=0))
complex109.add(gdstk.Label('B', (3.985,0.7), layer=11, texttype=0))
complex109.add(gdstk.Label('C', (5.64,0.69), layer=11, texttype=0))
complex109.add(gdstk.Label('D', (7.57,0.555), layer=11, texttype=0))
complex109.add(gdstk.Label('E', (5.915,0.69), layer=11, texttype=0))
complex109.add(gdstk.Label('F', (3.77,0.62), layer=11, texttype=0))
complex109.add(gdstk.Label('G', (2.075,0.69), layer=11, texttype=0))
complex109.add(gdstk.Label('H', (1.69,0.69), layer=11, texttype=0))
complex109.add(gdstk.Label('Y', (0.075,0.915), layer=11, texttype=0))
complex109.add(gdstk.Label('VCC', (0,1.4), layer=11, texttype=0))
complex109.add(gdstk.Label('GND', (0,0), layer=11, texttype=0))

lib.write_gds('COMPLEX109.gds')
